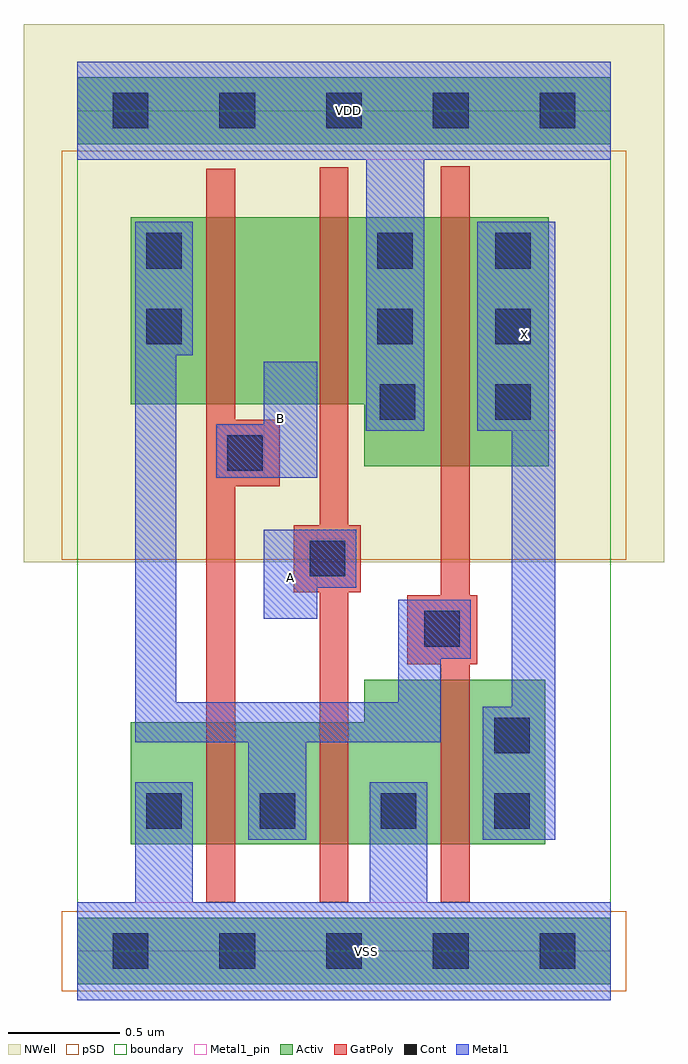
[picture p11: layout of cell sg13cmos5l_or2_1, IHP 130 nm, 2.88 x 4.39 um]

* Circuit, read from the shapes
.subckt sg13cmos5l_or2_1 A B VDD VSS X
XM1 n1 B VSS VSS sg13_lv_nmos w=0.55u l=0.13u
XM2 VSS A n1 VSS sg13_lv_nmos w=0.55u l=0.13u
XM3 X n1 VSS VSS sg13_lv_nmos w=0.74u l=0.13u
XM4 n2 B n1 VDD sg13_lv_pmos w=0.84u l=0.13u
XM5 VDD A n2 VDD sg13_lv_pmos w=0.84u l=0.13u
XM6 X n1 VDD VDD sg13_lv_pmos w=1.12u l=0.13u
.ends

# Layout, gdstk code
import gdstk
lib = gdstk.Library(unit=1e-6, precision=1e-09)
def R(c, l, rs):  # rectangles x0, y0, x1, y1
    for r in rs: c.add(gdstk.rectangle(r[:2], r[2:], *l))
def A(c, l, x, y, w, h, nx, ny, dx, dy):  # array of equal rectangles
    R(c, l, [(x+i*dx, y+j*dy, x+i*dx+w, y+j*dy+h) for i in range(nx) for j in range(ny)])
def P(c, l, *ps):  # polygons
    for p in ps: c.add(gdstk.Polygon(p, *l))
Activ = (1, 0)
GatPoly = (5, 0)
Cont = (6, 0)
Metal1 = (8, 0)
Metal1_pin = (8, 2)
pSD = (14, 0)
NWell = (31, 0)
boundary = (189, 4)

sg13cmos5l_or2_1 = lib.new_cell('sg13cmos5l_or2_1')
R(sg13cmos5l_or2_1, Activ, [(0,-0.15,2.4,0.15), (0,3.63,2.4,3.93)])
P(sg13cmos5l_or2_1, Activ, [(1.29,2.18),(1.29,2.46),(0.24,2.46),(0.24,3.3),(2.12,3.3),(2.12,2.18)],
  [(0.24,0.48),(0.24,1.03),(1.29,1.03),(1.29,1.22),(2.105,1.22),(2.105,0.48)])
R(sg13cmos5l_or2_1, GatPoly, [(0.58,0.22,0.71,2.495), (0.61,2.09,0.91,2.39), (0.58,2.36,0.71,3.52), (1.09,2.36,1.22,3.525)])
P(sg13cmos5l_or2_1, GatPoly, [(1.09,0.22),(1.09,1.615),(0.975,1.615),(0.975,1.915),(1.09,1.915),(1.09,2.395),(1.22,2.395),(1.22,1.915),(1.275,1.915),(1.275,1.615),(1.22,1.615),(1.22,0.22)],
  [(1.635,0.22),(1.635,1.29),(1.485,1.29),(1.485,1.6),(1.635,1.6),(1.635,3.53),(1.765,3.53),(1.765,1.6),(1.8,1.6),(1.8,1.29),(1.765,1.29),(1.765,0.22)])
A(sg13cmos5l_or2_1, Cont, 0.16, -0.08, 0.16, 0.16, 5, 2, 0.48, 3.78)
A(sg13cmos5l_or2_1, Cont, 1.88, 2.39, 0.16, 0.16, 1, 3, 0, 0.34)
R(sg13cmos5l_or2_1, Cont, [(0.31,0.55,0.47,0.71), (0.82,0.55,0.98,0.71), (1.365,0.55,1.525,0.71), (1.875,0.55,2.035,0.71), (1.875,0.89,2.035,1.05), (1.56,1.37,1.72,1.53), (1.045,1.685,1.205,1.845), (0.675,2.16,0.835,2.32), (1.36,2.39,1.52,2.55), (0.31,2.73,0.47,2.89), (1.35,2.73,1.51,2.89), (0.31,3.07,0.47,3.23), (1.35,3.07,1.51,3.23), (1.35,3.07,1.51,3.23), (1.35,3.07,1.51,3.23)])
P(sg13cmos5l_or2_1, Metal1, [(0.84,1.495),(0.84,1.895),(1.255,1.895),(1.255,1.635),(1.08,1.635),(1.08,1.495)],
  [(1.825,0.5),(1.825,1.1),(1.955,1.1),(1.955,2.34),(1.8,2.34),(1.8,3.28),(2.15,3.28),(2.15,0.5)],
  [(0.77,0.5),(0.77,0.94),(0.26,0.94),(0.26,3.28),(0.52,3.28),(0.52,2.68),(0.445,2.68),(0.445,1.12),(1.445,1.12),(1.445,1.58),(1.77,1.58),(1.77,1.315),(1.635,1.315),(1.635,0.94),(1.03,0.94),(1.03,0.5)],
  [(0.625,2.13),(0.625,2.37),(0.84,2.37),(0.84,2.65),(1.08,2.65),(1.08,2.13)],
  [(0,-0.22),(0,0.22),(0.26,0.22),(0.26,0.76),(0.52,0.76),(0.52,0.22),(1.315,0.22),(1.315,0.76),(1.575,0.76),(1.575,0.22),(2.4,0.22),(2.4,-0.22)],
  [(1.3,2.34),(1.3,3.56),(0,3.56),(0,4),(2.4,4),(2.4,3.56),(1.56,3.56),(1.56,2.34)])
R(sg13cmos5l_or2_1, Metal1_pin, [(0,-0.22,2.4,0.22), (0.84,1.495,1.08,1.895), (0.84,2.13,1.08,2.65), (1.8,2.34,2.15,3.28), (0,3.56,2.4,4)])
R(sg13cmos5l_or2_1, pSD, [(-0.07,-0.18,2.47,0.18), (-0.07,1.76,2.47,3.6)])
R(sg13cmos5l_or2_1, NWell, [(-0.24,1.75,2.64,4.17)])
R(sg13cmos5l_or2_1, boundary, [(0,0,2.4,3.78)])
sg13cmos5l_or2_1.add(gdstk.Label('A', (0.96,1.68), layer=8, texttype=25))
sg13cmos5l_or2_1.add(gdstk.Label('VSS', (1.3,0), layer=8, texttype=25))
sg13cmos5l_or2_1.add(gdstk.Label('B', (0.915,2.395), layer=8, texttype=25))
sg13cmos5l_or2_1.add(gdstk.Label('X', (2.01,2.775), layer=8, texttype=25))
sg13cmos5l_or2_1.add(gdstk.Label('VDD', (1.22,3.78), layer=8, texttype=25))

lib.write_gds('sg13cmos5l_or2_1.gds')
